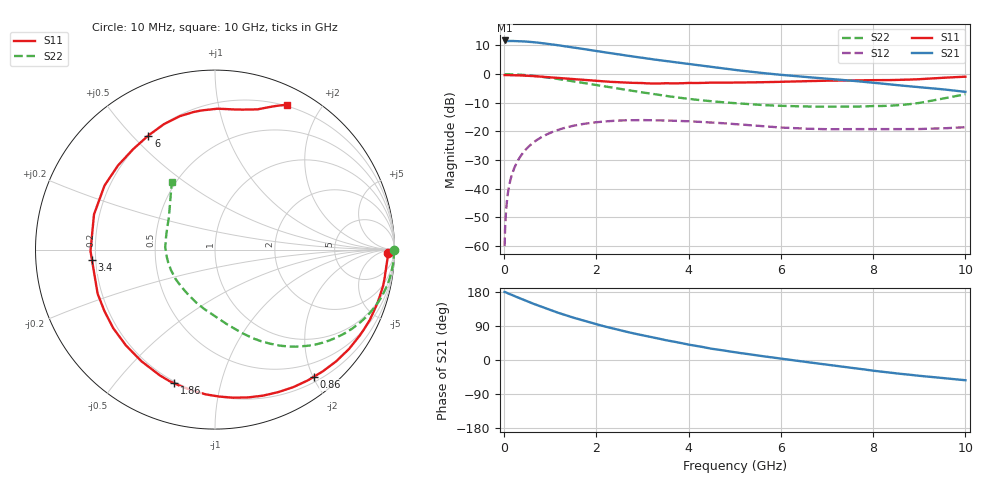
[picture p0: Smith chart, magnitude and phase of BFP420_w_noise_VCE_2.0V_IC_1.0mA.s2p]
! Infineon Technologies  Discrete & RF Semiconductors
! BFP420
! VCE =  2.0 V,  IC =  1.0 mA
! Common Emitter S-Parameters:  Jan 2016
# GHz  S  MA  R  50
!  f  S11  S21  S12  S22
! GHz  MAG  ANG  MAG  ANG  MAG  ANG  MAG  ANG
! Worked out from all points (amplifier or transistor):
!   233 points, 10 MHz to 10 GHz, reference 50 ohm
!   highest |S21| = 11.7 dB at 10 MHz (marker M1)
!   |S21| within 3 dB of that: start of sweep to 1.725 GHz
!   unconditionally stable (mu >= 1): 4.288 GHz to end of sweep
!   at 200 MHz: K = 0.01, MSG = 22.6 dB, |S12| = -33.6 dB
!   at 1.74 GHz: K = 0.29, MSG = 13.0 dB, |S12| = -17.3 dB
!   at 10 GHz: K = 1.34, MAG = 2.7 dB, |S12| = -18.5 dB
!   lowest NFmin = 0.53 dB at 900 MHz
!   S11 on the Smith chart (normalised r, x): 10 MHz: 43, -19; 860 MHz: 0.28, -2.01; 1.86 GHz: 0.19, -0.72; 3.4 GHz: 0.19, -0.04; 6 GHz: 0.20, +0.56; 10 GHz: 0.18, +1.60
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0.01  0.9618 -1.0  3.866 179.5  0.001 114.3  0.9973 -0.1
0.02  0.9604 -1.1  3.731 179.4  0.002 89.7  0.9971 -0.7
0.03  0.9611 -1.7  3.74 178.8  0.003 90.3  0.9972 -1.0
0.06  0.9616 -3.5  3.764 177.1  0.0061 89.2  0.9971 -2.1
0.11  0.9582 -6.7  3.785 174.6  0.0116 85.9  0.9958 -3.9
0.19  0.9579 -11.6  3.784 170.6  0.02 83.2  0.9915 -6.7
0.34  0.9497 -20.8  3.753 163.0  0.0355 77.5  0.9788 -12.0
0.52  0.9355 -31.8  3.673 154.0  0.0534 70.7  0.954 -18.1
0.86  0.8973 -52.2  3.442 138.0  0.0837 58.3  0.8904 -28.7
1.2  0.8563 -71.9  3.165 123.4  0.1087 47.1  0.8154 -38.3
1.68  0.7977 -97.8  2.774 105.2  0.1339 32.9  0.71 -49.5
1.86  0.7786 -107.0  2.631 99.0  0.1405 28.1  0.673 -53.2
2.2  0.745 -123.4  2.395 87.9  0.1502 19.8  0.6082 -59.6
2.6  0.7164 -142.3  2.145 75.9  0.1564 10.7  0.5386 -66.7
3  0.6986 -159.4  1.926 65.1  0.158 2.8  0.4798 -73.1
3.4  0.688 -175.3  1.737 55.2  0.1559 -4.0  0.4294 -79.6
4  0.702 163.8  1.508 40.6  0.1508 -12.6  0.3704 -90.3
5.1  0.715 137.1  1.159 18.7  0.133 -23.4  0.3074 -111.9
6  0.7361 120.3  0.973 3.6  0.1172 -27.0  0.2802 -131.3
6.8  0.7615 107.7  0.857 -9.2  0.1106 -26.4  0.2706 -150.0
8.4  0.7882 82.2  0.657 -33.8  0.1099 -26.1  0.2825 164.4
10  0.9026 63.5  0.491 -53.4  0.1188 -24.3  0.4454 122.8
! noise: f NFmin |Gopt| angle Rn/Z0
0.9  0.53  0.67  34  0.35
1.8  1.15  0.44  77  0.27
2.4  1.28  0.44  100  0.22
3  1.61  0.45  131  0.15
4  1.9  0.47  -177  0.09
5  2.32  0.44  -133  0.45
6  3.43  0.6  -118  0.25
